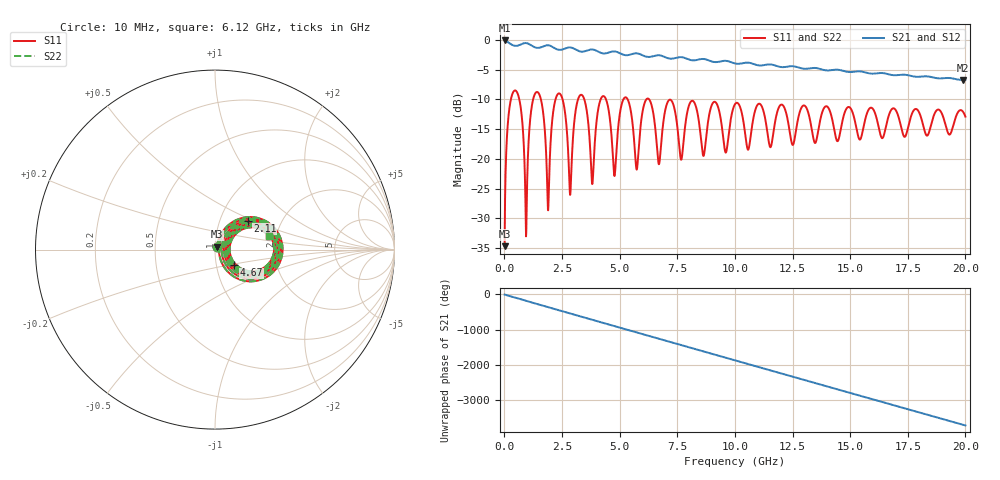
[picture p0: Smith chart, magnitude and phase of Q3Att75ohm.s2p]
! Touchstone generated by fitter/viewer
# HZ S  RI R 5.000000e+001
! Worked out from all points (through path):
!   2000 points, 10 MHz to 20 GHz, reference 50 ohm
!   highest |S21| = -0.08 dB at 10 MHz (marker M1); lowest = -6.7 dB at 19.88 GHz (marker M2)
!   group delay of S21, straight-line fit = 517 ps
!   lowest |S11| = -34.7 dB at 10 MHz (marker M3), VSWR 1.04, Z = 50.9 + j1.63 ohm
!   |S11| at or under -10 dB: 4.41 GHz to 5.161 GHz (750.3 MHz wide, 15.7 % of centre); 5.35 GHz to 6.156 GHz (805.8 MHz wide, 14 % of centre); 6.283 GHz to end of sweep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
!   |S22| runs from -34.7 to -8.5 dB; largest |S21 - S12| = 0
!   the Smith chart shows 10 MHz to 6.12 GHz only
!   S11 on the Smith chart (normalised r, x): 10 MHz: 1.02, +0.03; 2.11 GHz: 1.35, +0.46; 4.67 GHz: 1.22, -0.21; 6.12 GHz: 1.82, +0.30
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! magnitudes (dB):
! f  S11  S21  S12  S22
! 10 MHz  -34.7  -0.1  -0.1  -34.7
! 380 MHz  -8.8  -0.9  -0.9  -8.8
! 940 MHz  -33.0  -0.5  -0.5  -33.0
! 1.31 GHz  -9.2  -1.2  -1.2  -9.2
! 1.89 GHz  -28.6  -0.9  -0.9  -28.6
! 2.11 GHz  -12.3  -1.2  -1.2  -12.3
! 2.5 GHz  -9.7  -1.6  -1.6  -9.7
! 2.86 GHz  -26.0  -1.3  -1.3  -26.0
! 3.35 GHz  -9.2  -2.0  -2.0  -9.2
! 3.8 GHz  -24.0  -1.6  -1.6  -24.0
! 4.24 GHz  -9.5  -2.2  -2.2  -9.5
! 4.67 GHz  -17.3  -2.0  -2.0  -17.3
! 5.75 GHz  -21.7  -2.2  -2.2  -21.7
! 6.12 GHz  -10.2  -2.8  -2.8  -10.2
! 6.68 GHz  -20.6  -2.6  -2.6  -20.6
! 7.15 GHz  -10.1  -3.1  -3.1  -10.1
! 7.67 GHz  -20.1  -2.9  -2.9  -20.1
! 10.01 GHz  -10.8  -4.0  -4.0  -10.8
! 13.34 GHz  -15.1  -4.7  -4.7  -15.1
! 16.67 GHz  -12.8  -5.8  -5.8  -12.8
! 19.88 GHz  -12.0  -6.7  -6.7  -12.0
! 20 GHz  -12.9  -6.7  -6.7  -12.9
